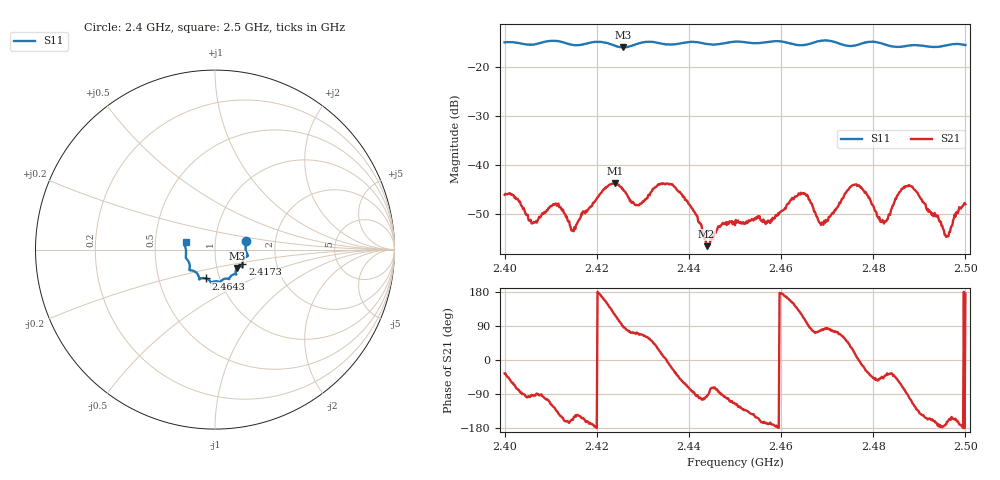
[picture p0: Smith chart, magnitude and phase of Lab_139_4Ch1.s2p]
# Hz S RI R 50
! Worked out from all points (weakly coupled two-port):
!   601 points, 2.4 GHz to 2.5 GHz, reference 50 ohm
!   highest |S21| = -43.58 dB at 2.424 GHz (marker M1); lowest = -56.5 dB at 2.4438 GHz (marker M2)
!   lowest |S11| = -15.9 dB at 2.4257 GHz (marker M3), VSWR 1.38, Z = 62.5 - j13.1 ohm
!   |S11| at or under -10 dB: start of sweep to end of sweep
!   S12 and S22 are empty: the file has one direction only
!   S11 on the Smith chart (normalised r, x): 2.4 GHz: 1.41, +0.14; 2.4173 GHz: 1.34, -0.23; 2.4643 GHz: 0.86, -0.28; 2.5 GHz: 0.72, +0.06
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2.4e9  0.1733 0.0495  0.00409 -0.00289  0 0  0 0
2.406167e9  0.1708 -0.000532  -0.000179 -0.00257  0 0  0 0
2.410667e9  0.1839 -0.0341  -0.0022 -0.00328  0 0  0 0
2.414833e9  0.1603 -0.054  -0.00198 -0.000798  0 0  0 0
2.416667e9  0.1529 -0.0744  -0.00287 -0.00145  0 0  0 0
2.417333e9  0.1523 -0.0819  -0.00309 -0.00134  0 0  0 0
2.424e9  0.1367 -0.0942  -0.00306 0.00587  0 0  0 0
2.425667e9  0.1229 -0.1021  4.17e-05 0.00574  0 0  0 0
2.428833e9  0.1156 -0.1301  0.00128 0.00372  0 0  0 0
2.433333e9  0.113 -0.1371  0.00558 0.00313  0 0  0 0
2.4385e9  0.0815 -0.1567  0.00282 -0.00417  0 0  0 0
2.443833e9  0.0646 -0.161  -0.000187 -0.00148  0 0  0 0
2.45e9  0.0294 -0.1807  -0.00105 -0.00221  0 0  0 0
2.457167e9  -0.0145 -0.1813  -0.00269 -0.000515  0 0  0 0
2.464333e9  -0.0499 -0.1606  -0.00281 0.00445  0 0  0 0
2.466667e9  -0.0759 -0.1597  0.000785 0.00399  0 0  0 0
2.469e9  -0.0875 -0.1662  0.000394 0.00253  0 0  0 0
2.476333e9  -0.1198 -0.1185  0.0063 0.00116  0 0  0 0
2.483333e9  -0.1407 -0.0898  0.00247 -0.00192  0 0  0 0
2.488e9  -0.1598 -0.0508  -0.00142 -0.006  0 0  0 0
2.496e9  -0.1672 0.0194  -0.00181 -0.000553  0 0  0 0
2.5e9  -0.1637 0.0422  -0.004 0.000328  0 0  0 0
